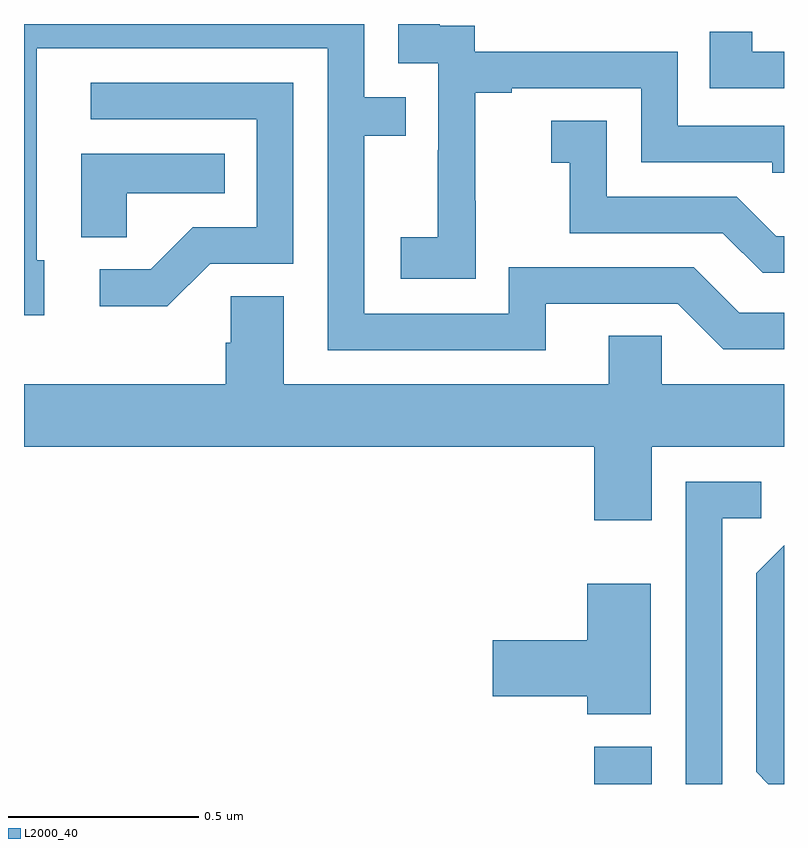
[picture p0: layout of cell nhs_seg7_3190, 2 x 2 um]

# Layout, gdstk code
import gdstk
lib = gdstk.Library(unit=1e-6, precision=1e-09)
def R(c, l, rs):  # rectangles x0, y0, x1, y1
    for r in rs: c.add(gdstk.rectangle(r[:2], r[2:], *l))
def P(c, l, *ps):  # polygons
    for p in ps: c.add(gdstk.Polygon(p, *l))
L2000_40 = (2000, 40)

nhs_seg7_3190 = lib.new_cell('nhs_seg7_3190')
R(nhs_seg7_3190, L2000_40, [(156.5,1061,156.652,1061.098)])
P(nhs_seg7_3190, L2000_40, [(156.189,1062.535),(156.188,1062.535),(156.188,1062.819),(156.283,1062.819),(156.283,1062.831),(156.624,1062.831),(156.624,1062.636),(156.969,1062.636),(156.969,1062.609),(157,1062.609),(157,1062.732),(156.72,1062.732),(156.72,1062.927),(156.186,1062.927),(156.186,1062.996),(156.094,1062.996),(156.094,1063),(155.985,1063),(155.985,1062.897),(156.09,1062.897),(156.09,1062.668),(156.089,1062.668),(156.089,1062.439),(155.991,1062.439),(155.991,1062.329),(156.189,1062.329)],
  [(156.373,1062.264),(156.72,1062.264),(156.84,1062.144),(157,1062.144),(157,1062.24),(156.882,1062.24),(156.762,1062.36),(156.276,1062.36),(156.276,1062.237),(155.895,1062.237),(155.895,1062.706),(156.005,1062.706),(156.005,1062.807),(155.895,1062.807),(155.895,1063),(155,1063),(155,1062.234),(155.053,1062.234),(155.053,1062.378),(155.034,1062.378),(155.034,1062.936),(155.799,1062.936),(155.799,1062.141),(156.373,1062.141)],
  [(157,1062.927),(156.916,1062.927),(156.916,1062.979),(156.805,1062.979),(156.805,1062.831),(157,1062.831)],
  [(155.49,1062.369),(155.709,1062.369),(155.709,1062.846),(155.175,1062.846),(155.175,1062.75),(155.613,1062.75),(155.613,1062.465),(155.444,1062.465),(155.333,1062.354),(155.199,1062.354),(155.199,1062.257),(155.377,1062.257)],
  [(157,1062.442),(156.98,1062.442),(156.876,1062.546),(156.534,1062.546),(156.534,1062.745),(156.387,1062.745),(156.387,1062.635),(156.436,1062.635),(156.436,1062.45),(156.839,1062.45),(156.944,1062.345),(157,1062.345)],
  [(155.271,1062.554),(155.528,1062.554),(155.528,1062.658),(155.15,1062.658),(155.15,1062.439),(155.271,1062.439)],
  [(156.652,1061.888),(157,1061.888),(157,1062.052),(156.678,1062.052),(156.678,1062.179),(156.539,1062.179),(156.539,1062.052),(155.683,1062.052),(155.683,1062.284),(155.544,1062.284),(155.544,1062.161),(155.531,1062.161),(155.531,1062.052),(155,1062.052),(155,1061.888),(156.5,1061.888),(156.5,1061.694),(156.652,1061.694)],
  [(156.837,1061.7),(156.94,1061.7),(156.94,1061.796),(156.741,1061.796),(156.741,1061),(156.837,1061)],
  [(157,1061.628),(156.927,1061.554),(156.927,1061.032),(156.959,1061),(157,1061)],
  [(156.649,1061.527),(156.482,1061.527),(156.482,1061.378),(156.234,1061.378),(156.234,1061.231),(156.482,1061.231),(156.482,1061.183),(156.649,1061.183)])

lib.write_gds('nhs_seg7_3190.gds')
